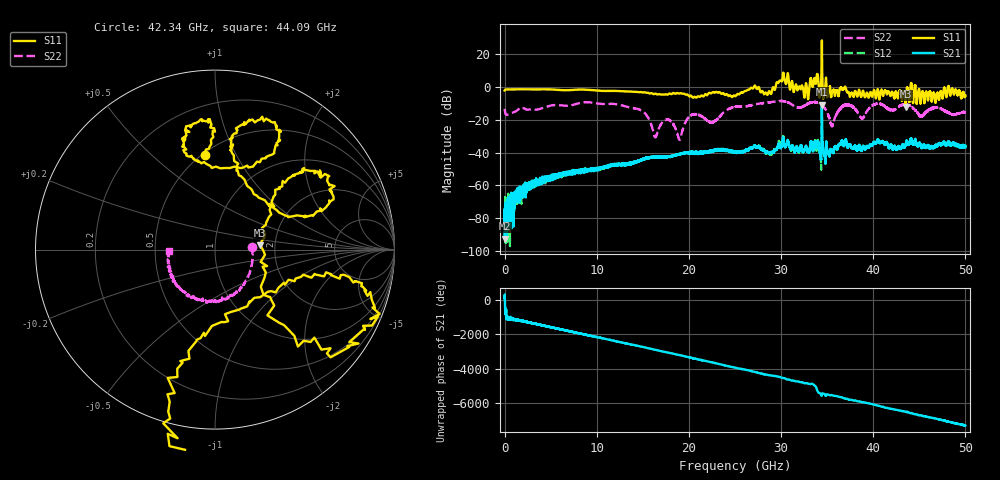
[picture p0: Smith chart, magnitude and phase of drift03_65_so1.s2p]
!Created with skrf (http://scikit-rf.org).
# Hz S RI R 50.0
!freq ReS11 ImS11 ReS21 ImS21 ReS12 ImS12 ReS22 ImS22
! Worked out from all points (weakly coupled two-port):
!   10000 points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, 5.3 MHz to 50 GHz, reference 50 ohm
!   highest |S21| = -10.65 dB at 34.43 GHz (marker M1); lowest = -92.6 dB at 25.3 MHz (marker M2)
!   lowest |S11| = -12.0 dB at 43.52 GHz (marker M3), VSWR 1.68, Z = 83.4 + j4.43 ohm
!   |S11| at or under -10 dB: 43.48922 GHz to 43.54919 GHz (59.96 MHz wide, 0.138 % of centre); 44.70863 GHz to 44.71816 GHz (9.531 MHz wide, 0.0213 % of centre); 45.13907 GHz to 45.14034 GHz (1.275 MHz wide, 0.00283 % of centre)
!   |S22| runs from -32.2 to -8.4 dB; largest |S21 - S12| = 0.093
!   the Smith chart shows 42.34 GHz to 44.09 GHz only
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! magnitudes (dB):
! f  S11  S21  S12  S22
! 5.3 MHz  -2.1  -75.2  -76.1  -13.3
! 25.3 MHz  -1.9  -92.6  -78.9  -13.9
! 2.89 GHz  -1.4  -59.8  -59.6  -13.5
! 8.34 GHz  -1.5  -51.5  -51.2  -9.5
! 14.58 GHz  -3.1  -44.7  -45.3  -13.6
! 16.67 GHz  -4.4  -42.7  -42.6  -26.4
! 17.79 GHz  -4.3  -42.5  -42.4  -19.9
! 19 GHz  -3.9  -41.1  -41.0  -32.1
! 20.3 GHz  -5.6  -39.5  -39.7  -17.1
! 22.56 GHz  -3.1  -39.4  -39.2  -21.4
! 25.01 GHz  -5.5  -39.8  -40.0  -12.1
! 30.14 GHz  4.4  -33.9  -34.1  -8.5
! 33.34 GHz  2.6  -35.0  -35.3  -9.3
! 34.43 GHz  28.5  -10.7  -12.4  -10.8
! 35.52 GHz  -3.7  -38.6  -38.7  -23.3
! 36.95 GHz  0.2  -32.7  -33.1  -11.0
! 38.78 GHz  -4.6  -38.2  -37.7  -19.2
! 40.18 GHz  -3.4  -34.3  -34.1  -10.4
! 41.67 GHz  -2.8  -37.2  -36.8  -13.4
! 43.52 GHz  -12.0  -35.3  -35.2  -10.8
! 45.19 GHz  -7.1  -36.0  -36.1  -17.6
! 50 GHz  -5.2  -36.8  -36.3  -15.5
